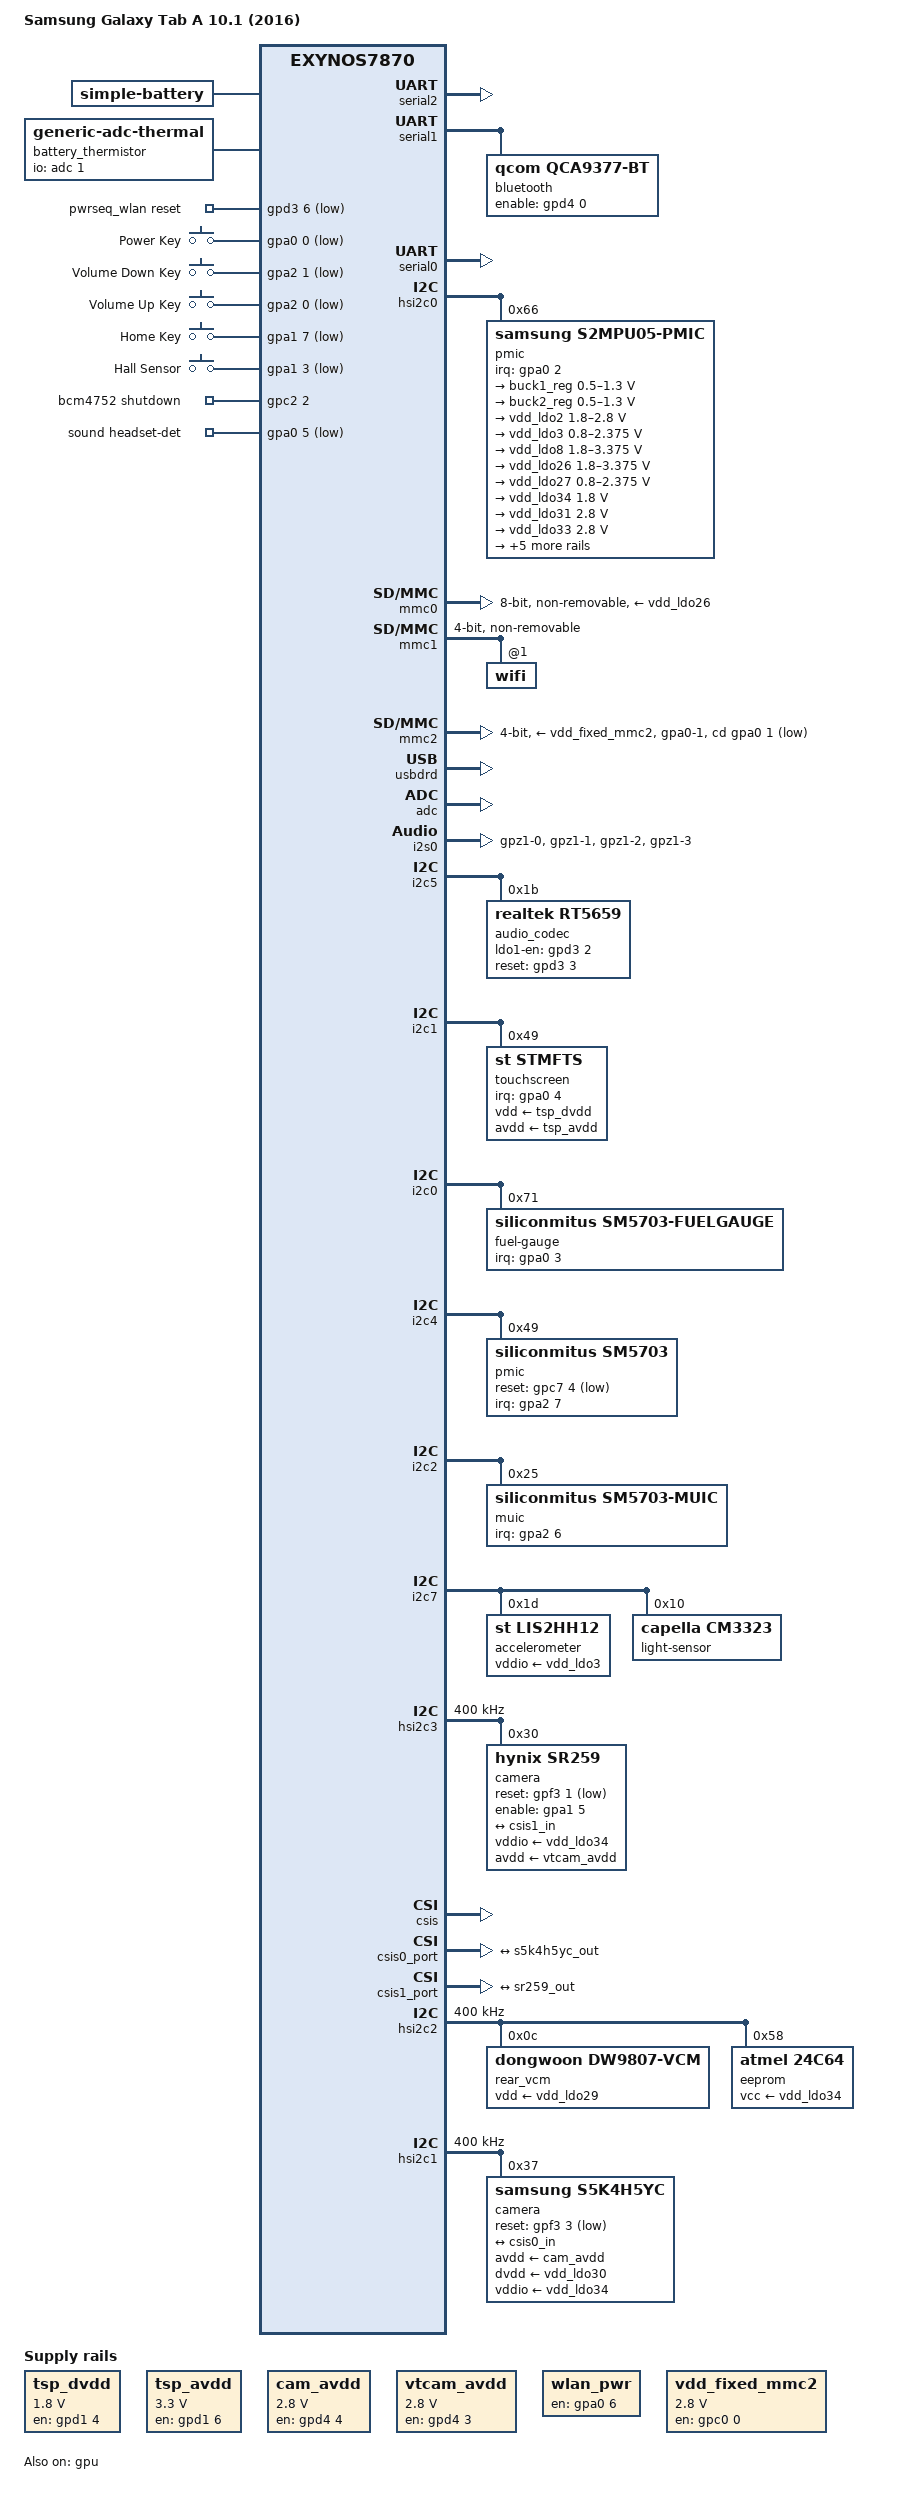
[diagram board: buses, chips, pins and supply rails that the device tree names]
// SPDX-License-Identifier: GPL-2.0
/*
 * Samsung Galaxy Tab A 10.1 (2016) - SM-T580 - codename "gtaxlwifi"
 * SoC: Exynos 7870 (Joshua)
 *
 * Wi-Fi only 10.1" tablet with 2 GiB of RAM in two banks, eMMC, microSD,
 * QCA9377 Wi-Fi (SDIO) and Bluetooth (UART), BCM4752 GPS, S2MPU05 PMIC,
 * SM5703 charger, fuel gauge and MUIC, STMicro FTS touchscreen, keys and
 * Hall sensor, Mali-T830 GPU, LIS2HH12 accelerometer, CM3323 light sensor,
 * front (SR259) and rear (S5K4H5YC) cameras, and audio through the
 * s1402x mixer and a Realtek RT5659 codec (playback and internal mic).
 *
 * This file describes the display as the framebuffer left on by S-BOOT;
 * exynos7870-gtaxlwifi-decon.dts includes it and replaces that with the
 * DECON, DSI and the HX8279D panel with backlight.
 *
 * Based on arch/arm64/boot/dts/exynos/exynos7870-j6lte.dts
 * (Kaustabh Chakraborty)
 *
 * Copyright (C) 2026 The LineageOS Project
 */

/dts-v1/;
#include "exynos7870.dtsi"
#include <dt-bindings/gpio/gpio.h>
#include <dt-bindings/input/input.h>
#include <dt-bindings/leds/common.h>
#include <dt-bindings/interrupt-controller/irq.h>

/ {
	model = "Samsung Galaxy Tab A 10.1 (2016)";
	compatible = "samsung,gtaxlwifi", "samsung,exynos7870";
	chassis-type = "tablet";

	/*
	 * Non-standard properties read by dtbhtoolExynos, which turns them
	 * into the DTBH header codes the stock bootloader matches on
	 * (0x50a6 / 0x217584da). The chip and hw_rev ones are in
	 * exynos7870.dtsi.
	 */
	model_info-platform = "android";
	model_info-subtype = "samsung";

	aliases {
		mmc0 = &mmc0;
		mmc1 = &mmc1;
		mmc2 = &mmc2;
		serial0 = &serial0;
		serial1 = &serial1;
		serial2 = &serial2;
	};

	chosen {
		#address-cells = <2>;
		#size-cells = <1>;
		ranges;

		/* ttySAC2 is the debug UART on the whole 7870 family. */
		stdout-path = &serial2;

		/*
		 * Framebuffer left active by S-BOOT (s3cfb.bootloaderfb on the
		 * stock cmdline, bootloader_fb in the vendor DTS). The panel is
		 * a landscape one mounted rotated by 90 degrees, so the scanout
		 * is portrait; rotate the console with fbcon=rotate:1.
		 */
		framebuffer0: framebuffer@67000000 {
			compatible = "simple-framebuffer";
			reg = <0x0 0x67000000 (1200 * 1920 * 4)>;
			width = <1200>;
			height = <1920>;
			stride = <(1200 * 4)>;
			format = "a8r8g8b8";
		};
	};

	/*
	 * Two banks, as in the vendor DTS. The 28 MiB between them
	 * (0x7e400000-0x80000000) belong to the secure world: mapping them
	 * causes an external abort, so the banks must not be merged.
	 */
	memory@40000000 {
		device_type = "memory";
		reg = <0x0 0x40000000 0x3e400000>;
	};

	memory@80000000 {
		device_type = "memory";
		reg = <0x0 0x80000000 0x40000000>;
	};

	/*
	 * Cell ratings and charging parameters from the vendor battery
	 * DTS. The minimum voltage is the vendor cut-off threshold.
	 */
	battery: battery {
		compatible = "simple-battery";
		device-chemistry = "lithium-ion";
		charge-full-design-microamp-hours = <7300000>;
		voltage-max-design-microvolt = <4350000>;
		voltage-min-design-microvolt = <3400000>;

		/*
		 * Float voltage for a new cell: the vendor kernel lowers it
		 * with the cycle count, which is not tracked here.
		 */
		constant-charge-voltage-max-microvolt = <4300000>;
		constant-charge-current-max-microamp = <2400000>;
		charge-term-current-microamp = <375000>;

		/*
		 * Outside this range the charger stops charging and resumes
		 * 5 degrees inside it. Nothing in the charger watches the
		 * cell: its thermal regulation is for the die.
		 */
		operating-range-celsius = <0 50>;
	};

	/*
	 * Battery thermistor, on SoC ADC channel 1. The fuel gauge only
	 * reports the temperature of its own die.
	 *
	 * Table from the vendor battery DTS, converted to millidegrees and
	 * reversed: thermal-generic-adc wants the ADC values in descending
	 * order.
	 */
	battery_thermistor: thermal-sensor {
		compatible = "generic-adc-thermal";
		#thermal-sensor-cells = <0>;

		io-channels = <&adc 1>;
		io-channel-names = "sensor-channel";

		temperature-lookup-table =
			<(-20000) 3551>,
			<(-15000) 3431>,
			<(-10000) 3284>,
			<(-5000) 3141>,
			<0 2964>,
			<5000 2782>,
			<10000 2586>,
			<15000 2392>,
			<20000 2196>,
			<25000 2002>,
			<30000 1816>,
			<35000 1648>,
			<40000 1476>,
			<45000 1310>,
			<50000 1177>,
			<55000 1043>,
			<60000 940>,
			<65000 838>,
			<70000 746>,
			<75000 676>,
			<80000 581>,
			<85000 500>,
			<90000 430>;
	};

	thermal-zones {
		battery-thermal {
			polling-delay = <10000>;
			polling-delay-passive = <5000>;
			thermal-sensors = <&battery_thermistor>;

			/*
			 * No cooling devices: the passive trips only make the
			 * thermal core send a netlink event on every crossing,
			 * at the thresholds the Android thermal HAL uses for
			 * this zone. There is no critical trip, so that a bad
			 * reading cannot shut the device down; the charger
			 * stops charging by itself.
			 */
			trips {
				trip-light {
					temperature = <40000>;
					hysteresis = <2000>;
					type = "passive";
				};
				trip-moderate {
					temperature = <42000>;
					hysteresis = <2000>;
					type = "passive";
				};
				trip-severe {
					temperature = <45000>;
					hysteresis = <2000>;
					type = "passive";
				};
				trip-critical {
					temperature = <48000>;
					hysteresis = <2000>;
					type = "passive";
				};
				trip-emergency {
					temperature = <52000>;
					hysteresis = <2000>;
					type = "passive";
				};
				trip-shutdown {
					temperature = <60000>;
					hysteresis = <2000>;
					type = "passive";
				};
			};
		};
	};

	/*
	 * The vendor ION heaps are not replicated: they are reusable CMA
	 * pools, and the MFC and camera drivers allocate through their
	 * SysMMUs instead.
	 */
	reserved-memory {
		#address-cells = <2>;
		#size-cells = <1>;
		ranges;

		/* Still scanned out by the DECON: keep the kernel off it. */
		fb_mem: framebuffer@67000000 {
			reg = <0x0 0x67000000 (1200 * 1920 * 4)>;	/* 0x8CA000 */
			no-map;
		};

		/*
		 * Carveouts from the stock cmdline: unused here, but S-BOOT
		 * and the secure world write into them.
		 */
		ess_mem: debug-snapshot@46000000 {
			reg = <0x0 0x46000000 0x1000000>;
			no-map;
		};

		sec_log_mem: sec-log@47000000 {
			reg = <0x0 0x47000000 0x100000>;
			no-map;
		};

		tima_mem: tima-log@52a00000 {
			reg = <0x0 0x52a00000 0x200000>;
			no-map;
		};

		/*
		 * Panic log, kept across a warm reset. Placed in bank 1 away
		 * from the carveouts, the framebuffer and the S-BOOT initrd
		 * area (0x42000000).
		 */
		ramoops@56000000 {
			compatible = "ramoops";
			reg = <0x0 0x56000000 0x100000>;
			console-size = <0x40000>;
			record-size = <0x40000>;
			ftrace-size = <0x0>;
			pmsg-size = <0x40000>;
		};

		/*
		 * ECT (Exynos Character Table): the DVFS tables the bootloader
		 * leaves in RAM. Nothing reads it at run time (the OPP tables
		 * below were taken from it), but it belongs to S-BOOT and the
		 * secure world. no-map keeps it out of the linear map, so that
		 * a parser can memremap() it later without a second, cacheable
		 * alias.
		 */
		ect_mem: ect@90000000 {
			reg = <0x0 0x90000000 0x14000>;
			no-map;
		};
	};

	/*
	 * Touchscreen supplies: external rails switched by GPIOs, not by the
	 * PMIC.
	 */
	tsp_dvdd: regulator-tsp-dvdd {
		compatible = "regulator-fixed";
		regulator-name = "tsp_dvdd";
		regulator-min-microvolt = <1800000>;
		regulator-max-microvolt = <1800000>;
		gpio = <&gpd1 4 GPIO_ACTIVE_HIGH>;
		enable-active-high;
	};

	tsp_avdd: regulator-tsp-avdd {
		compatible = "regulator-fixed";
		regulator-name = "tsp_avdd";
		regulator-min-microvolt = <3300000>;
		regulator-max-microvolt = <3300000>;
		gpio = <&gpd1 6 GPIO_ACTIVE_HIGH>;
		enable-active-high;
	};

	/*
	 * Camera 2.8 V analog rails: external LDOs enabled by gpd4-4 (rear)
	 * and gpd4-3 (front).
	 */
	cam_avdd: regulator-cam-avdd {
		compatible = "regulator-fixed";
		regulator-name = "VDD_CAM_A2P8";
		regulator-min-microvolt = <2800000>;
		regulator-max-microvolt = <2800000>;
		gpio = <&gpd4 4 GPIO_ACTIVE_HIGH>;
		enable-active-high;
	};

	vtcam_avdd: regulator-vtcam-avdd {
		compatible = "regulator-fixed";
		regulator-name = "VDD_VTCAM_A2P8";
		regulator-min-microvolt = <2800000>;
		regulator-max-microvolt = <2800000>;
		gpio = <&gpd4 3 GPIO_ACTIVE_HIGH>;
		enable-active-high;
	};

	/*
	 * QCA9377 Wi-Fi on SDIO (mmc1). WLAN_EN is driven as an active-low
	 * reset by mmc-pwrseq-simple; the delays are those of the vendor
	 * cnss_sdio driver.
	 *
	 * The supply is an external DC-DC with a fixed output and no declared
	 * voltage. It cannot be the vmmc-supply, because the MMC core derives
	 * the OCR mask from the regulator voltages, so it is kept always on.
	 *
	 * WLAN_HOST_WAKE (gpa2-2) is not used: ath10k relies on the in-band
	 * SDIO interrupt.
	 */
	wlan_pwr: regulator-wlan {
		compatible = "regulator-fixed";
		regulator-name = "cnss_dcdc_en";
		gpio = <&gpa0 6 GPIO_ACTIVE_HIGH>;
		enable-active-high;
		startup-delay-us = <4000>;
		regulator-boot-on;
		regulator-always-on;
	};

	pwrseq_wlan: pwrseq-wlan {
		compatible = "mmc-pwrseq-simple";
		reset-gpios = <&gpd3 6 GPIO_ACTIVE_LOW>;	/* WLAN_EN */
		post-power-on-delay-ms = <10>;
	};

	/*
	 * microSD slot supply: external 2.8 V regulator enabled by gpc0-0.
	 *
	 * No pinctrl on purpose: according to the vendor kernel the
	 * configuration registers of gpc0-0 and gpc0-2 are swapped, so a
	 * pinctrl group on gpc0-0 would configure gpc0-2. The data path is
	 * not swapped, and gpiolib drives the right pin.
	 */
	vdd_fixed_mmc2: regulator-fixed-mmc2 {
		compatible = "regulator-fixed";
		regulator-name = "vdd_fixed_mmc2";
		regulator-min-microvolt = <2800000>;
		regulator-max-microvolt = <2800000>;
		gpio = <&gpc0 0 GPIO_ACTIVE_HIGH>;
		enable-active-high;
	};

	gpio-keys {
		compatible = "gpio-keys";
		label = "GPIO Keys";

		pinctrl-names = "default";
		pinctrl-0 = <&key_power &key_voldown &key_volup &key_home &hall_cover>;

		key-power {
			label = "Power Key";
			gpios = <&gpa0 0 GPIO_ACTIVE_LOW>;
			linux,code = <KEY_POWER>;		/* 116 */
			wakeup-source;
		};

		key-voldown {
			label = "Volume Down Key";
			gpios = <&gpa2 1 GPIO_ACTIVE_LOW>;
			linux,code = <KEY_VOLUMEDOWN>;		/* 114 */
		};

		key-volup {
			label = "Volume Up Key";
			gpios = <&gpa2 0 GPIO_ACTIVE_LOW>;
			linux,code = <KEY_VOLUMEUP>;		/* 115 */
		};

		key-home {
			label = "Home Key";
			gpios = <&gpa1 7 GPIO_ACTIVE_LOW>;
			linux,code = <KEY_HOMEPAGE>;		/* 172 */
			wakeup-source;
		};

		/*
		 * Magnetic cover: SW_LID reads 1 while the magnet is near.
		 * Opening the cover wakes the tablet.
		 */
		hall-cover {
			label = "Hall Sensor";
			gpios = <&gpa1 3 GPIO_ACTIVE_LOW>;
			linux,input-type = <EV_SW>;
			linux,code = <SW_LID>;			/* 0 */
			wakeup-source;
		};
	};
};

&oscclk {
	clock-frequency = <26000000>;
};

/* Debug UART, 115200 8N1 through the 619 kOhm jig. */
&serial2 {
	status = "okay";
};

/*
 * Bluetooth half of the QCA9377 (H4 with IBS). It shares only the
 * supply, wlan_pwr, with the Wi-Fi.
 *
 * The vendor kernel numbers the UARTs differently: its serial_0
 * (UART_BTWIFIFM) is serial1 here, its serial_1 (UART_SENSOR) is
 * serial0.
 *
 * BT_WAKE and BT_HOST_WAKE are not used: on QCA_ROME, IBS is in-band.
 * There is no sleep clock to declare: the 32 kHz clock does not come
 * from the AP.
 *
 * max-speed must let the ~33 KB rampatch download fit within
 * HCI_CMD_TIMEOUT (2 s), which starts when a command is queued: that
 * takes 2.9 s at 115200 and 0.36 s at 921600.
 */
&serial1 {
	status = "okay";

	bluetooth {
		compatible = "qcom,qca9377-bt";
		enable-gpios = <&gpd4 0 GPIO_ACTIVE_HIGH>;	/* BT_EN */
		max-speed = <921600>;
	};
};

/*
 * Broadcom BCM4752 GPS on serial0. The chip does not speak NMEA: the
 * proprietary gpsd drives the UART as a plain tty (ttySAC0) and powers
 * the chip by writing "1"/"0" to a file, which is what an rfkill state
 * accepts.
 */
&serial0 {
	status = "okay";
};

/ {
	gps {
		compatible = "rfkill-gpio";
		label = "bcm4752";
		radio-type = "gps";
		shutdown-gpios = <&gpc2 2 GPIO_ACTIVE_HIGH>;	/* GPS_EN */
		default-blocked;
	};
};

/*
 * Mali-T830. OPPs: the steps the vendor enables (ECT domain
 * "dvfs_g3d"), at the ASV table 5 group 5 voltages fused in the unit
 * they were read from, plus the 20 mV margin of the vendor Mali driver,
 * rounded to the 6.25 mV PMIC step.
 */
&gpu {
	status = "okay";

	mali-supply = <&buck2_reg>;
	operating-points-v2 = <&gpu_opp_table>;

	gpu_opp_table: opp-table {
		compatible = "operating-points-v2";

		opp-343000000 {
			opp-hz = /bits/ 64 <343000000>;
			opp-microvolt = <625000>;
		};

		opp-450000000 {
			opp-hz = /bits/ 64 <450000000>;
			opp-microvolt = <662500>;
		};

		opp-545000000 {
			opp-hz = /bits/ 64 <545000000>;
			opp-microvolt = <706250>;
		};

		opp-676000000 {
			opp-hz = /bits/ 64 <676000000>;
			opp-microvolt = <768750>;
		};

		opp-728000000 {
			opp-hz = /bits/ 64 <728000000>;
			opp-microvolt = <787500>;
		};

		opp-845000000 {
			opp-hz = /bits/ 64 <845000000>;
			opp-microvolt = <862500>;
		};

		opp-1001000000 {
			opp-hz = /bits/ 64 <1001000000>;
			opp-microvolt = <956250>;
		};
	};
};

/*
 * CPU OPPs: the ECT levels (dvfs_cpucl0/1) that have a valid voltage in
 * ASV table 5. The frequencies are the exact ECT ones: they must match
 * the PLL rate table and the clk-cpu configurations, or the transition
 * is rejected.
 *
 * Voltages: ASV table 5, group 5, plus 25 mV, which covers the
 * COLD_VOLT_OFFSET the vendor kernel applies at low temperature and
 * which is not implemented here. opp-suspend is the vendor boot and
 * resume level.
 *
 * Both clusters share BUCK1: the wide maximum in opp-microvolt lets the
 * regulator core keep the rail at the highest request.
 */
/ {
	cpucl0_opp_table: opp-table-cpucl0 {
		compatible = "operating-points-v2";
		opp-shared;

		opp-1586000000 {
			opp-hz = /bits/ 64 <1586000000>;
			opp-microvolt = <1068750 1068750 1300000>;
			clock-latency-ns = <140000>;
		};

		opp-1482000000 {
			opp-hz = /bits/ 64 <1482000000>;
			opp-microvolt = <1018750 1018750 1300000>;
			clock-latency-ns = <140000>;
		};

		opp-1352000000 {
			opp-hz = /bits/ 64 <1352000000>;
			opp-microvolt = <968750 968750 1300000>;
			clock-latency-ns = <140000>;
		};

		opp-1248000000 {
			opp-hz = /bits/ 64 <1248000000>;
			opp-microvolt = <925000 925000 1300000>;
			clock-latency-ns = <140000>;
		};

		opp-1144000000 {
			opp-hz = /bits/ 64 <1144000000>;
			opp-microvolt = <881250 881250 1300000>;
			clock-latency-ns = <140000>;
		};

		opp-1014000000 {
			opp-hz = /bits/ 64 <1014000000>;
			opp-microvolt = <831250 831250 1300000>;
			clock-latency-ns = <140000>;
		};

		opp-902200000 {
			opp-hz = /bits/ 64 <902200000>;
			opp-microvolt = <787500 787500 1300000>;
			clock-latency-ns = <140000>;
			opp-suspend;
		};

		opp-838500000 {
			opp-hz = /bits/ 64 <838500000>;
			opp-microvolt = <762500 762500 1300000>;
			clock-latency-ns = <140000>;
		};

		opp-756600000 {
			opp-hz = /bits/ 64 <756600000>;
			opp-microvolt = <743750 743750 1300000>;
			clock-latency-ns = <140000>;
		};

		opp-676000000 {
			opp-hz = /bits/ 64 <676000000>;
			opp-microvolt = <718750 718750 1300000>;
			clock-latency-ns = <140000>;
		};

		opp-546000000 {
			opp-hz = /bits/ 64 <546000000>;
			opp-microvolt = <675000 675000 1300000>;
			clock-latency-ns = <140000>;
		};

		opp-448500000 {
			opp-hz = /bits/ 64 <448500000>;
			opp-microvolt = <650000 650000 1300000>;
			clock-latency-ns = <140000>;
		};

		opp-342875000 {
			opp-hz = /bits/ 64 <342875000>;
			opp-microvolt = <625000 625000 1300000>;
			clock-latency-ns = <140000>;
		};
	};

	cpucl1_opp_table: opp-table-cpucl1 {
		compatible = "operating-points-v2";
		opp-shared;

		opp-1586000000 {
			opp-hz = /bits/ 64 <1586000000>;
			opp-microvolt = <1068750 1068750 1300000>;
			clock-latency-ns = <140000>;
		};

		opp-1482000000 {
			opp-hz = /bits/ 64 <1482000000>;
			opp-microvolt = <1018750 1018750 1300000>;
			clock-latency-ns = <140000>;
		};

		opp-1352000000 {
			opp-hz = /bits/ 64 <1352000000>;
			opp-microvolt = <968750 968750 1300000>;
			clock-latency-ns = <140000>;
		};

		opp-1248000000 {
			opp-hz = /bits/ 64 <1248000000>;
			opp-microvolt = <925000 925000 1300000>;
			clock-latency-ns = <140000>;
		};

		opp-1144000000 {
			opp-hz = /bits/ 64 <1144000000>;
			opp-microvolt = <881250 881250 1300000>;
			clock-latency-ns = <140000>;
		};

		opp-1014000000 {
			opp-hz = /bits/ 64 <1014000000>;
			opp-microvolt = <831250 831250 1300000>;
			clock-latency-ns = <140000>;
		};

		opp-902200000 {
			opp-hz = /bits/ 64 <902200000>;
			opp-microvolt = <787500 787500 1300000>;
			clock-latency-ns = <140000>;
			opp-suspend;
		};

		opp-838500000 {
			opp-hz = /bits/ 64 <838500000>;
			opp-microvolt = <762500 762500 1300000>;
			clock-latency-ns = <140000>;
		};

		opp-756600000 {
			opp-hz = /bits/ 64 <756600000>;
			opp-microvolt = <743750 743750 1300000>;
			clock-latency-ns = <140000>;
		};

		opp-676000000 {
			opp-hz = /bits/ 64 <676000000>;
			opp-microvolt = <718750 718750 1300000>;
			clock-latency-ns = <140000>;
		};

		opp-546000000 {
			opp-hz = /bits/ 64 <546000000>;
			opp-microvolt = <675000 675000 1300000>;
			clock-latency-ns = <140000>;
		};

		opp-448500000 {
			opp-hz = /bits/ 64 <448500000>;
			opp-microvolt = <650000 650000 1300000>;
			clock-latency-ns = <140000>;
		};

		opp-342875000 {
			opp-hz = /bits/ 64 <342875000>;
			opp-microvolt = <625000 625000 1300000>;
			clock-latency-ns = <140000>;
		};
	};
};

&cpu0 {
	cpu-supply = <&buck1_reg>;
	operating-points-v2 = <&cpucl0_opp_table>;
};

&cpu1 {
	cpu-supply = <&buck1_reg>;
	operating-points-v2 = <&cpucl0_opp_table>;
};

&cpu2 {
	cpu-supply = <&buck1_reg>;
	operating-points-v2 = <&cpucl0_opp_table>;
};

&cpu3 {
	cpu-supply = <&buck1_reg>;
	operating-points-v2 = <&cpucl0_opp_table>;
};

&cpu4 {
	cpu-supply = <&buck1_reg>;
	operating-points-v2 = <&cpucl1_opp_table>;
};

&cpu5 {
	cpu-supply = <&buck1_reg>;
	operating-points-v2 = <&cpucl1_opp_table>;
};

&cpu6 {
	cpu-supply = <&buck1_reg>;
	operating-points-v2 = <&cpucl1_opp_table>;
};

&cpu7 {
	cpu-supply = <&buck1_reg>;
	operating-points-v2 = <&cpucl1_opp_table>;
};

/*
 * S2MPU05 PMIC. Only the regulators with a consumer here are declared;
 * the other bucks stay as the bootloader set them.
 */
&hsi2c0 {
	#address-cells = <1>;
	#size-cells = <0>;
	status = "okay";

	pmic@66 {
		compatible = "samsung,s2mpu05-pmic";
		reg = <0x66>;
		interrupt-parent = <&gpa0>;
		interrupts = <2 IRQ_TYPE_LEVEL_LOW>;

		pinctrl-names = "default";
		pinctrl-0 = <&pmic_irq>;

		regulators {
			/*
			 * BUCK1 (VDD_CPU) supplies both clusters; the regulator
			 * core aggregates their requests through the OPP
			 * voltage ranges.
			 */
			buck1_reg: buck1 {
				regulator-name = "vdd_cpu";
				regulator-min-microvolt = <500000>;
				regulator-max-microvolt = <1300000>;
				regulator-ramp-delay = <12000>;
				regulator-boot-on;
				regulator-always-on;
			};

			/*
			 * BUCK2 (G3D) is declared for GPU DVFS: without
			 * constraints, voltage changes are rejected. Range and
			 * ramp from the vendor kernel; always on, as there,
			 * because it supplies a SoC power domain.
			 */
			buck2_reg: buck2 {
				regulator-name = "vdd_g3d";
				regulator-min-microvolt = <500000>;
				regulator-max-microvolt = <1300000>;
				regulator-ramp-delay = <12000>;
				regulator-boot-on;
				regulator-always-on;
			};

			/*
			 * microSD vqmmc: the 1.8-2.8 V range is needed for UHS
			 * signalling.
			 */
			vdd_ldo2: ldo2 {
				regulator-name = "vqmmc";
				regulator-min-microvolt = <1800000>;
				regulator-max-microvolt = <2800000>;
				regulator-ramp-delay = <12000>;
			};

			/*
			 * LIS2HH12 accelerometer I/O rail, as in the vendor
			 * kernel. The chip VDD is not described there either:
			 * it is already on at boot.
			 */
			vdd_ldo3: ldo3 {
				regulator-name = "vdd_ldo3";
				regulator-min-microvolt = <800000>;
				regulator-max-microvolt = <2375000>;
				regulator-ramp-delay = <12000>;
				regulator-boot-on;
				regulator-always-on;
			};

			/* USB DRD PHY 3.3 V supply (vdd33). */
			vdd_ldo8: ldo8 {
				regulator-name = "vdd_ldo8";
				regulator-min-microvolt = <1800000>;
				regulator-max-microvolt = <3375000>;
				regulator-ramp-delay = <12000>;
			};

			/* eMMC vmmc */
			vdd_ldo26: ldo26 {
				regulator-name = "vemmc";
				regulator-min-microvolt = <1800000>;
				regulator-max-microvolt = <3375000>;
				regulator-ramp-delay = <12000>;
				regulator-boot-on;
			};

			/* eMMC vqmmc */
			vdd_ldo27: ldo27 {
				regulator-name = "vqemmc";
				regulator-min-microvolt = <800000>;
				regulator-max-microvolt = <2375000>;
				regulator-ramp-delay = <12000>;
				regulator-boot-on;
			};

			/*
			 * 1.8 V I/O of both cameras, switched by the sensor
			 * drivers.
			 */
			vdd_ldo34: ldo34 {
				regulator-name = "VDDIO_1.8V_CAM";
				regulator-min-microvolt = <1800000>;
				regulator-max-microvolt = <1800000>;
			};

			/*
			 * BCM4752 GPS supply. No driver requests it, and S-BOOT
			 * leaves it off: always on, as in the vendor kernel.
			 */
			vdd_ldo31: ldo31 {
				regulator-name = "vdd_ldo31";
				regulator-min-microvolt = <2800000>;
				regulator-max-microvolt = <2800000>;
				regulator-boot-on;
				regulator-always-on;
			};

			/*
			 * CM3323 light sensor supply. The vendor driver kept it
			 * on through a private property; the mainline driver
			 * does not request it at all.
			 */
			vdd_ldo33: ldo33 {
				regulator-name = "vdd_ldo33";
				regulator-min-microvolt = <2800000>;
				regulator-max-microvolt = <2800000>;
				regulator-boot-on;
				regulator-always-on;
			};

			/*
			 * Panel supply. With simple-framebuffer nothing
			 * requests it, so it is always on; the -decon variant
			 * hands it to the panel driver.
			 */
			vdd_ldo35: ldo35 {
				regulator-name = "LCD_1P8";
				regulator-min-microvolt = <1800000>;
				regulator-max-microvolt = <1800000>;
				regulator-boot-on;
				regulator-always-on;
			};

			/*
			 * RT5659 codec supplies (LDO25 at 1.8 V, LDO32 at
			 * 3.3 V), as mapped by the vendor sound DTS. Always on:
			 * the mainline rt5659 driver does not request supplies,
			 * and its power-on sequence (ldo1-en and reset GPIOs on
			 * the codec node) needs both rails up.
			 */
			vdd_ldo25: ldo25 {
				regulator-name = "VDD_CODEC_1P8";
				regulator-min-microvolt = <1800000>;
				regulator-max-microvolt = <1800000>;
				regulator-boot-on;
				regulator-always-on;
			};

			vdd_ldo32: ldo32 {
				regulator-name = "VDD_CODEC_3P3";
				regulator-min-microvolt = <3300000>;
				regulator-max-microvolt = <3300000>;
				regulator-boot-on;
				regulator-always-on;
			};

			/*
			 * Rear camera autofocus motor (DW9807), switched by its
			 * driver.
			 */
			vdd_ldo29: ldo29 {
				regulator-name = "VDD_CAM_AF_2P8";
				regulator-min-microvolt = <2800000>;
				regulator-max-microvolt = <2800000>;
			};

			/*
			 * 1.2 V core of the rear sensor, switched by the sensor
			 * driver. S-BOOT leaves it on at 1.8 V.
			 */
			vdd_ldo30: ldo30 {
				regulator-name = "VDD_CAM_CORE_1P2";
				regulator-min-microvolt = <1200000>;
				regulator-max-microvolt = <1200000>;
			};
		};
	};
};

&mmc0 {
	pinctrl-names = "default";
	pinctrl-0 = <&sd0_clk &sd0_cmd &sd0_rdqs &sd0_bus1 &sd0_bus4 &sd0_bus8>;

	vmmc-supply = <&vdd_ldo26>;
	vqmmc-supply = <&vdd_ldo27>;

	bus-width = <8>;
	fifo-depth = <64>;

	/*
	 * cap-mmc-highspeed is needed to leave the 25 MHz legacy mode; DDR52
	 * also relies on the driver caps of controller 0, which the mmc0 alias
	 * selects. HS200 runs the card at 199.875 MHz (CIU at bus_pll / 2,
	 * ciu-div 3); the sample phase comes from tuning.
	 */
	cap-mmc-highspeed;
	mmc-hs200-1_8v;

	/*
	 * HS400 with the vendor kernel's values. The vendor ddr200-timing
	 * <1 0 4 0> (ciu-div, fine drive, drive, sample) becomes <0 4> here,
	 * with the fixed HS400 divider. The read strobe delay (RD_DQS_DELAY of
	 * HS400_DLINE_CTRL) and the write CRC status timer are the vendor
	 * DDR200 values. The vendor kernel also used Enhanced Strobe, which
	 * dw_mmc lacks: this is plain HS400, entered after HS200 tuning.
	 */
	mmc-hs400-1_8v;
	samsung,dw-mshc-hs400-timing = <0 4>;
	samsung,read-strobe-delay = <0x75>;
	samsung,dw-mshc-txdt-crc-timer-fastlimit = <0x34>;
	samsung,dw-mshc-txdt-crc-timer-initval = <0x38>;

	/*
	 * Mainline two-cell <sample drive> timings: the vendor four-cell values
	 * (div, x, drive, sample) are reordered, not copied.
	 */
	samsung,dw-mshc-ciu-div = <3>;
	samsung,dw-mshc-sdr-timing = <0 4>;
	samsung,dw-mshc-ddr-timing = <2 4>;
	non-removable;

	status = "okay";
};

/*
 * QCA9377 Wi-Fi on SDIO. ddr-timing is unused but required by
 * dw_mci_exynos_parse_dt(). The address and size cells are for the wifi@1
 * child.
 */
&mmc1 {
	#address-cells = <1>;
	#size-cells = <0>;

	pinctrl-names = "default";
	pinctrl-0 = <&sd1_clk &sd1_cmd &sd1_bus1 &sd1_bus4>;

	mmc-pwrseq = <&pwrseq_wlan>;

	bus-width = <4>;
	fifo-depth = <64>;
	samsung,dw-mshc-ciu-div = <3>;
	samsung,dw-mshc-sdr-timing = <0 3>;
	samsung,dw-mshc-ddr-timing = <1 2>;
	non-removable;
	cap-sd-highspeed;
	cap-sdio-irq;
	keep-power-in-suspend;
	/*
	 * WoWLAN: in suspend the firmware wakes the host through the SDIO
	 * interrupt. The out-of-band line of the vendor kernel (gpa2-2) is not
	 * driven under ath10k.
	 */
	wakeup-source;

	status = "okay";

	/*
	 * SDIO function 1. The bootloader adds local-mac-address from the EFS.
	 */
	wifi@1 {
		reg = <1>;
	};
};

/*
 * microSD, wired as on the other 7870 boards. The timings are the vendor ones
 * reordered: <3 0 3 0> is <0 3> and <3 0 2 1> is <1 2>. The vendor SDR50 drive
 * strength cannot be expressed, as mainline uses sdr-timing for every SDR mode.
 *
 * Unlike the other 7870 boards, card detect uses the gpa0-1 interrupt rather
 * than broken-cd polling, which also debounces the insertion; the two cannot be
 * combined. cap-sd-highspeed is needed for 50 MHz: the core does not infer it
 * from the UHS flags.
 */
&mmc2 {
	pinctrl-names = "default";
	pinctrl-0 = <&sd2_clk &sd2_cmd &sd2_bus1 &sd2_bus4 &dwmmc2_irq>;

	vmmc-supply = <&vdd_fixed_mmc2>;
	vqmmc-supply = <&vdd_ldo2>;

	bus-width = <4>;
	card-detect-delay = <200>;
	fifo-depth = <64>;
	samsung,dw-mshc-ciu-div = <3>;
	samsung,dw-mshc-sdr-timing = <0 3>;
	samsung,dw-mshc-ddr-timing = <1 2>;
	cap-sd-highspeed;
	sd-uhs-sdr50;
	sd-uhs-sdr104;
	cd-gpios = <&gpa0 1 GPIO_ACTIVE_LOW>;
	disable-wp;

	status = "okay";
};

&usbdrd {
	vdd33-supply = <&vdd_ldo8>;

	status = "okay";

	/*
	 * Nothing reports a role to the dwc3 role switch, and without one the
	 * UDC is not registered: force peripheral mode.
	 */
	usb@0 {
		dr_mode = "peripheral";
	};
};

/*
 * SoC ADC, not described in exynos7870.dtsi; address and interrupt from the
 * vendor kernel. With "samsung,exynos7-adc" every read times out, hence the
 * dedicated compatible.
 *
 * The supply is not known (the vendor DTS does not describe it either); it is
 * on at boot, and the driver falls back to a dummy regulator.
 */
&soc {
	adc: adc@10550000 {
		compatible = "samsung,exynos7870-adc";
		reg = <0x10550000 0x100>;

		interrupts = <GIC_SPI 395 IRQ_TYPE_LEVEL_HIGH>;

		clocks = <&cmu_mif CLK_GOUT_MIF_WRAP_ADC_IF_PCLK_S0>;
		clock-names = "adc";

		#io-channel-cells = <1>;
	};
};

/*
 * Audio: LPASS wrapper and audio DMA, with the I2S and the mixer as children,
 * populated once the wrapper has released their resets. The CMU_DISPAUD clocks
 * and resets are shared with the display.
 *
 * The wrapper maps only the DISPAUD_CFG word: bits 0-3 are the active-high soft
 * resets of MIXER/MI2S/AMP/ADMA. The word at +0xc belongs to syscon_disp.
 *
 * The vendor kernel loads the PL330 microcode into the LPASS SRAM with
 * extensions mainline lacks; here it stays in DRAM, which the DMAC reaches
 * through the same AXI master as the audio buffers. periphid from the vendor
 * kernel.
 */
&soc {
	lpass: audio-subsystem@148f1000 {
		compatible = "samsung,exynos7870-lpass";
		reg = <0x148f1000 0x4>;

		clocks = <&cmu_dispaud CLK_GOUT_DISPAUD_APB_AUD>,
			 <&cmu_dispaud CLK_FOUT_DISPAUD_AUD_PLL>,
			 <&cmu_dispaud CLK_DOUT_DISPAUD_MI2S>;
		clock-names = "apb_aud", "fout_aud_pll", "dout_mi2s";

		#address-cells = <1>;
		#size-cells = <1>;
		ranges;

		adma: dma-controller@14890000 {
			compatible = "arm,pl330", "arm,primecell";
			reg = <0x14890000 0x1000>;
			interrupts = <GIC_SPI 73 IRQ_TYPE_LEVEL_HIGH>;

			clocks = <&cmu_dispaud CLK_GOUT_DISPAUD_BUS>;
			clock-names = "apb_pclk";

			#dma-cells = <1>;
			arm,primecell-periphid = <0x341330>;
		};

		/*
		 * I2S0 has the register layout of the i2sv5_i2s1 variant. Both
		 * opclks point to the same gate, so the RCLKSRC mux does not
		 * matter. DMA channels from the vendor kernel.
		 */
		i2s0: i2s@148a0000 {
			compatible = "samsung,exynos7-i2s1";
			reg = <0x148a0000 0x100>;
			interrupts = <GIC_SPI 69 IRQ_TYPE_LEVEL_HIGH>;

			dmas = <&adma 0>, <&adma 2>;
			dma-names = "tx", "rx";

			clocks = <&cmu_dispaud CLK_GOUT_DISPAUD_APB_AUD>,
				 <&cmu_dispaud CLK_GOUT_DISPAUD_MI2S_AUD_I2SCODCLKI>,
				 <&cmu_dispaud CLK_GOUT_DISPAUD_MI2S_AUD_I2SCODCLKI>;
			clock-names = "iis", "i2s_opclk0", "i2s_opclk1";

			pinctrl-names = "default";
			pinctrl-0 = <&i2s_extcodec_bus>;

			/* MI2S clock at 2048 x 48 kHz */
			assigned-clocks = <&cmu_dispaud CLK_DOUT_DISPAUD_MI2S>;
			assigned-clock-rates = <98304019>;

			#sound-dai-cells = <1>;
		};

		/*
		 * s1402x digital mixer, between I2S0 and the codec, which is
		 * wired to its AMP port.
		 */
		audmixer: audio-mixer@14880000 {
			compatible = "samsung,s1402x";
			reg = <0x14880000 0x200>;

			clocks = <&cmu_dispaud CLK_DOUT_DISPAUD_MIXER>,
				 <&cmu_dispaud CLK_GOUT_DISPAUD_MIXER_AUD_SYSCLK>;
			clock-names = "audmixer_dout", "audmixer_aclk";

			#sound-dai-cells = <1>;
		};
	};
};

/*
 * I2S pins towards the external codec, with the settings of the vendor
 * i2s_pmic_bus_extcodec group.
 */
&pinctrl_dispaud {
	i2s_extcodec_bus: i2s-extcodec-bus-pins {
		samsung,pins = "gpz1-0", "gpz1-1", "gpz1-2", "gpz1-3";
		samsung,pin-function = <2>;
		samsung,pin-pud = <3>;
		samsung,pin-drv = <2>;
	};
};

/*
 * Realtek RT5659 codec. The internal microphone is differential on IN3P/IN3N;
 * the in3/in4-differential properties are read by the driver but not yet listed
 * in the binding schema.
 */
&i2c5 {
	status = "okay";

	/*
	 * Without an SDA delay this controller samples badly and reads return
	 * zero. Values from the vendor kernel.
	 */
	samsung,i2c-sda-delay = <100>;
	samsung,i2c-max-bus-freq = <400000>;

	audio_codec: audio-codec@1b {
		compatible = "realtek,rt5659";
		reg = <0x1b>;

		pinctrl-names = "default";
		pinctrl-0 = <&codec_ctrl>;

		/*
		 * The codec interrupt (gpd3-7) is left out: it only serves the
		 * codec's own jack detection, done through gpa0-5 instead, and
		 * rt5659_irq() can queue jack_detect_work before the component
		 * probe initializes it.
		 */

		realtek,ldo1-en-gpios = <&gpd3 2 GPIO_ACTIVE_HIGH>;
		realtek,reset-gpios = <&gpd3 3 GPIO_ACTIVE_HIGH>;

		realtek,in3-differential;
		realtek,in4-differential;
	};
};

/*
 * Test card for the SoC chain alone (I2S0 to mixer, no codec), an alternative
 * to the sound card below.
 */
/ {
	sound_test: sound-test {
		status = "disabled";
		compatible = "simple-audio-card";
		simple-audio-card,name = "gtaxl-soc-chain-test";
		simple-audio-card,format = "i2s";
		simple-audio-card,bitclock-master = <&cpu_dai_test>;
		simple-audio-card,frame-master = <&cpu_dai_test>;

		cpu_dai_test: simple-audio-card,cpu {
			sound-dai = <&i2s0 0>;
		};

		simple-audio-card,codec {
			sound-dai = <&audmixer 0>;
		};
	};
};

/*
 * Sound card: one dai_link with two codecs, mixer AP0 and RT5659 AIF1. Routing
 * from the vendor sound node.
 */
/ {
	sound {
		status = "okay";
		compatible = "samsung,gtaxl-rt5659";
		model = "gtaxlwifi";

		i2s-controller = <&i2s0>;
		audio-mixer = <&audmixer>;
		audio-codec = <&audio_codec>;

		pinctrl-names = "default";
		pinctrl-0 = <&jack_det>;

		/*
		 * Headphone detection is external to the codec, on gpa0-5: high
		 * at rest, low on insertion. The property name is the con-id
		 * passed by snd_soc_jack_add_gpios(). The polarity is set here
		 * and not in the driver, as setting both would cancel out.
		 */
		headset-det-gpios = <&gpa0 5 GPIO_ACTIVE_LOW>;

		audio-routing =
			"SPK", "SPOL",
			"SPK", "SPOR",
			"HP", "HPOL",
			"HP", "HPOR",
			"RCV", "MONOOUT",
			"IN1P", "Headset Mic",
			"IN3P", "MICBIAS2",
			"IN3P", "Main Mic",
			"IN3N", "Main Mic";
	};
};

&pinctrl_alive {
	key_power: key-power-pins {
		samsung,pins = "gpa0-0";
		samsung,pin-function = <EXYNOS_PIN_FUNC_EINT>;
		samsung,pin-pud = <EXYNOS_PIN_PULL_NONE>;
		samsung,pin-drv = <EXYNOS5433_PIN_DRV_FAST_SR1>;
	};

	key_voldown: key-voldown-pins {
		samsung,pins = "gpa2-1";
		samsung,pin-function = <EXYNOS_PIN_FUNC_EINT>;
		samsung,pin-pud = <EXYNOS_PIN_PULL_NONE>;
		samsung,pin-drv = <EXYNOS5433_PIN_DRV_FAST_SR1>;
	};

	key_volup: key-volup-pins {
		samsung,pins = "gpa2-0";
		samsung,pin-function = <EXYNOS_PIN_FUNC_EINT>;
		samsung,pin-pud = <EXYNOS_PIN_PULL_NONE>;
		samsung,pin-drv = <EXYNOS5433_PIN_DRV_FAST_SR1>;
	};

	/* Headphone jack detect: EINT and no pull, as in the vendor kernel. */
	jack_det: jack-det-pins {
		samsung,pins = "gpa0-5";
		samsung,pin-function = <EXYNOS_PIN_FUNC_EINT>;
		samsung,pin-pud = <EXYNOS_PIN_PULL_NONE>;
		samsung,pin-drv = <EXYNOS5433_PIN_DRV_FAST_SR1>;
	};

	key_home: key-home-pins {
		samsung,pins = "gpa1-7";
		samsung,pin-function = <EXYNOS_PIN_FUNC_EINT>;
		samsung,pin-pud = <EXYNOS_PIN_PULL_NONE>;
		samsung,pin-drv = <EXYNOS5433_PIN_DRV_FAST_SR1>;
	};

	/*
	 * Hall sensor of the magnetic cover, low while the magnet is near. The
	 * pin is not documented in the vendor sources; it was identified on the
	 * hardware.
	 */
	hall_cover: hall-cover-pins {
		samsung,pins = "gpa1-3";
		samsung,pin-function = <EXYNOS_PIN_FUNC_EINT>;
		samsung,pin-pud = <EXYNOS_PIN_PULL_NONE>;
		samsung,pin-drv = <EXYNOS5433_PIN_DRV_FAST_SR1>;
	};

	/* S2MPU05 PMIC IRQ, as on the J6 */
	pmic_irq: pmic-irq-pins {
		samsung,pins = "gpa0-2";
		samsung,pin-pud = <EXYNOS_PIN_PULL_UP>;
		samsung,pin-drv = <EXYNOS5433_PIN_DRV_FAST_SR4>;
	};

	touch_irq: touch-irq-pins {
		samsung,pins = "gpa0-4";
		samsung,pin-function = <EXYNOS_PIN_FUNC_EINT>;
		samsung,pin-pud = <EXYNOS_PIN_PULL_NONE>;
		samsung,pin-drv = <EXYNOS5433_PIN_DRV_FAST_SR1>;
	};

	/* SM5703 MFD IRQ; the MUIC has its own line, below. */
	if_pmic_irq: if-pmic-irq-pins {
		samsung,pins = "gpa2-7";
		samsung,pin-function = <EXYNOS_PIN_FUNC_INPUT>;
		samsung,pin-pud = <EXYNOS_PIN_PULL_NONE>;
		samsung,pin-drv = <EXYNOS5433_PIN_DRV_FAST_SR1>;
	};

	/* MUIC IRQ: active low, and nothing else holds it high at rest. */
	muic_irq: muic-irq-pins {
		samsung,pins = "gpa2-6";
		samsung,pin-function = <EXYNOS_PIN_FUNC_INPUT>;
		samsung,pin-pud = <EXYNOS_PIN_PULL_UP>;
		samsung,pin-drv = <EXYNOS5433_PIN_DRV_FAST_SR1>;
	};

	fuel_irq: fuel-irq-pins {
		samsung,pins = "gpa0-3";
		samsung,pin-function = <EXYNOS_PIN_FUNC_INPUT>;
		samsung,pin-pud = <EXYNOS_PIN_PULL_NONE>;
		samsung,pin-drv = <EXYNOS5433_PIN_DRV_FAST_SR1>;
	};

	/*
	 * microSD card detect: the pull-up is on the slot, and the line goes
	 * low with a card inserted.
	 */
	dwmmc2_irq: dwmmc2-irq-pins {
		samsung,pins = "gpa0-1";
		samsung,pin-function = <EXYNOS_PIN_FUNC_EINT>;
		samsung,pin-pud = <EXYNOS_PIN_PULL_NONE>;
		samsung,pin-drv = <EXYNOS5433_PIN_DRV_FAST_SR1>;
	};
};

/*
 * nCHGEN of the SM5703: a high level turns the input stage off, whatever the
 * registers say.
 */
&pinctrl_top {
	chg_en: chg-en-pins {
		samsung,pins = "gpd1-3";
		samsung,pin-function = <EXYNOS_PIN_FUNC_OUTPUT>;
		samsung,pin-pud = <EXYNOS_PIN_PULL_NONE>;
		samsung,pin-drv = <EXYNOS5433_PIN_DRV_FAST_SR1>;
	};

	/*
	 * Codec LDO_EN and RESET, driven high at boot as in the vendor kernel:
	 * S-BOOT leaves both pins as inputs.
	 */
	codec_ctrl: codec-ctrl-pins {
		samsung,pins = "gpd3-2", "gpd3-3";
		samsung,pin-function = <EXYNOS_PIN_FUNC_OUTPUT>;
		samsung,pin-pud = <EXYNOS_PIN_PULL_NONE>;
		samsung,pin-drv = <EXYNOS5433_PIN_DRV_FAST_SR1>;
		samsung,pin-val = <1>;
	};
};

/*
 * STMicroelectronics FingerTipS touchscreen ("stm,fts_touch" in the vendor
 * kernel), with two capacitive keys and no key backlight.
 */
&i2c1 {
	#address-cells = <1>;
	#size-cells = <0>;

	/*
	 * Bus timing from the vendor kernel: with the defaults the touchscreen
	 * does not answer.
	 */
	samsung,i2c-sda-delay = <100>;
	samsung,i2c-max-bus-freq = <400000>;

	status = "okay";

	touchscreen@49 {
		compatible = "st,stmfts";
		reg = <0x49>;

		interrupt-parent = <&gpa0>;
		interrupts = <4 IRQ_TYPE_LEVEL_LOW>;

		pinctrl-names = "default";
		pinctrl-0 = <&touch_irq>;

		touchscreen-size-x = <1199>;
		touchscreen-size-y = <1919>;
		touch-key-connected;

		vdd-supply = <&tsp_dvdd>;
		avdd-supply = <&tsp_avdd>;
	};
};

/*
 * Silicon Mitus SM5703: charger, regulators and flash LED at 0x49 on i2c4, fuel
 * gauge at 0x71 on i2c0, MUIC at 0x25 on i2c2. The fuel gauge does not depend
 * on the MFD.
 *
 * Without the charger driver the chip limits the input current to 450 mA, less
 * than the system draws with the screen on.
 */
&i2c0 {
	#address-cells = <1>;
	#size-cells = <0>;

	samsung,i2c-sda-delay = <100>;
	samsung,i2c-max-bus-freq = <400000>;

	status = "okay";

	/*
	 * The tables are specific to this model's cell and come from the vendor
	 * battery DTS (battery_table0/1/2: discharge, charge, soc). The voltage
	 * unit is 1/2.048 mV: 0x2400 is 4500 mV.
	 *
	 * The interrupt fires when the charge drops below alert-soc-percent or
	 * the voltage below 3125 mV.
	 */
	fuel-gauge@71 {
		compatible = "siliconmitus,sm5703-fuelgauge";
		reg = <0x71>;

		interrupt-parent = <&gpa0>;
		interrupts = <3 IRQ_TYPE_EDGE_FALLING>;

		pinctrl-names = "default";
		pinctrl-0 = <&fuel_irq>;

		monitored-battery = <&battery>;

		siliconmitus,battery-table-discharge =
			<0x1400 0x1b88 0x1ce5 0x1d35 0x1d5a 0x1d78 0x1ddd 0x1e37
			 0x1e78 0x1ed7 0x1efb 0x1f72 0x2008 0x2133 0x220c 0x2400>;
		siliconmitus,battery-table-charge =
			<0x1400 0x1b88 0x1ce5 0x1d35 0x1d5a 0x1d78 0x1ddd 0x1e37
			 0x1e78 0x1ed7 0x1efb 0x1f72 0x2008 0x2133 0x220c 0x2400>;
		siliconmitus,battery-table-soc =
			<0x0 0x81 0x1f7 0x28c 0x36d 0x658 0xaba 0x1207
			 0x1954 0x1f2b 0x20a1 0x238d 0x2964 0x31dc 0x371e 0x3749>;

		siliconmitus,rce-values = <0x0749 0x0580 0x0371>;
		siliconmitus,dtcd-value = <0x1>;
		siliconmitus,rs-values = <0x9b 0x47a 0x3800 0x00a4>;
		siliconmitus,vit-period = <0x3506>;
		siliconmitus,mix-values = <0x0503 0x0004>;
		siliconmitus,topoff-soc = <0x0 0x5>;
		siliconmitus,volt-cal = <0x809e>;
		siliconmitus,curr-cal = <0x7a85>;
		siliconmitus,temp-std = <25>;
		siliconmitus,temp-offset = <10>;
		siliconmitus,temp-offset-cal = <0x1>;
		siliconmitus,charge-offset-cal = <(-1)>;
		siliconmitus,tem-poff = <3400 50 3350 50>;
		siliconmitus,alert-soc-percent = <2>;
	};
};

&i2c4 {
	#address-cells = <1>;
	#size-cells = <0>;

	samsung,i2c-sda-delay = <100>;
	samsung,i2c-max-bus-freq = <400000>;

	status = "okay";

	/* SM5703 charger, regulators and flash LED */
	pmic@49 {
		compatible = "siliconmitus,sm5703";
		reg = <0x49>;

		interrupt-parent = <&gpa2>;
		interrupts = <7 IRQ_TYPE_EDGE_FALLING>;

		pinctrl-names = "default";
		pinctrl-0 = <&if_pmic_irq>;

		reset-gpios = <&gpc7 4 GPIO_ACTIVE_LOW>;

		charger {
			compatible = "siliconmitus,sm5703-charger";

			monitored-battery = <&battery>;
			extcon = <&muic>;

			pinctrl-names = "default";
			pinctrl-0 = <&chg_en>;
			enable-gpios = <&gpd1 3 GPIO_ACTIVE_LOW>;

			/*
			 * A ceiling, reached only when the MUIC reports a
			 * dedicated charger; on a USB port the driver stops at
			 * 500 mA. Value from the vendor kernel.
			 */
			input-current-limit-microamp = <1650000>;
		};

		/*
		 * Rear camera flash LED, currents from the vendor kernel. The
		 * LED is controlled over I2C; the external control pins used by
		 * the vendor kernel (gpd3-5, gpd3-7) are left alone.
		 */
		flash {
			compatible = "siliconmitus,sm5703-flash";

			led {
				function = LED_FUNCTION_FLASH;
				color = <LED_COLOR_ID_WHITE>;
				led-max-microamp = <150000>;
				flash-max-microamp = <1200000>;
				flash-max-timeout-us = <1600000>;
			};
		};
	};
};

/*
 * SM5703 MUIC, handled by extcon-sm5502. Its interrupt is gpa2-6; gpa2-7 is the
 * MFD one.
 */
&i2c2 {
	#address-cells = <1>;
	#size-cells = <0>;

	samsung,i2c-sda-delay = <100>;
	samsung,i2c-max-bus-freq = <400000>;

	status = "okay";

	muic: extcon@25 {
		compatible = "siliconmitus,sm5703-muic";
		reg = <0x25>;

		interrupt-parent = <&gpa2>;
		interrupts = <6 IRQ_TYPE_EDGE_FALLING>;

		pinctrl-names = "default";
		pinctrl-0 = <&muic_irq>;
	};
};

/*
 * LIS2HH12 accelerometer ("K2HH" in the vendor kernel) and CM3323 light sensor.
 * The accelerometer interrupt (gpa0-7) is not used: polling is enough for
 * screen rotation.
 */
&i2c7 {
	#address-cells = <1>;
	#size-cells = <0>;

	samsung,i2c-sda-delay = <100>;
	samsung,i2c-max-bus-freq = <400000>;

	status = "okay";

	accelerometer@1d {
		compatible = "st,lis2hh12";
		reg = <0x1d>;

		vddio-supply = <&vdd_ldo3>;

		/*
		 * The matrix maps the axes the driver reports to the Android
		 * device frame, including the chip's sign convention, hence the
		 * negative determinant. The vendor kernel used the same map
		 * (negate_z).
		 */
		mount-matrix =  "1",  "0",  "0",
			        "0",  "1",  "0",
			        "0",  "0", "-1";
	};

	/*
	 * CM3323 colour sensor: the driver exposes red, green, blue and clear
	 * intensities, not illuminance, so lux has to be computed by the
	 * consumer.
	 */
	light-sensor@10 {
		compatible = "capella,cm3323";
		reg = <0x10>;
	};
};

/*
 * Front camera, SK hynix SR259, one MIPI lane to CSIS1. Reset and standby are
 * high while running. MCLK is the 26 MHz oscillator, as in the vendor kernel;
 * the sensor PLL gives a 351 MHz link (26 / 4 * 54), 70.2 Mpixel/s at 10 bits.
 */
&hsi2c3 {
	clock-frequency = <400000>;
	status = "okay";

	camera@30 {
		compatible = "hynix,sr259";
		reg = <0x30>;

		clocks = <&cmu_mif CLK_GOUT_MIF_CMU_ISP_SENSOR1>;
		assigned-clocks = <&cmu_mif CLK_MOUT_MIF_CMU_ISP_SENSOR1>,
				  <&cmu_mif CLK_DOUT_MIF_CMU_ISP_SENSOR1>;
		assigned-clock-parents = <&oscclk>, <0>;
		assigned-clock-rates = <0>, <26000000>;

		pinctrl-names = "default";
		pinctrl-0 = <&fimc_is_mclk1_fn>;

		vddio-supply = <&vdd_ldo34>;
		avdd-supply = <&vtcam_avdd>;
		reset-gpios = <&gpf3 1 GPIO_ACTIVE_LOW>;
		enable-gpios = <&gpa1 5 GPIO_ACTIVE_HIGH>;

		orientation = <0>;
		/*
		 * With the tablet upright in portrait, the top of the scene is
		 * on the right of the raw frame.
		 */
		rotation = <90>;

		port {
			sr259_out: endpoint {
				data-lanes = <1>;
				link-frequencies = /bits/ 64 <351000000>;
				remote-endpoint = <&csis1_in>;
			};
		};
	};
};

&csis {
	status = "okay";
};

&csis0_port {
	csis0_in: endpoint {
		data-lanes = <1 2 3 4>;
		remote-endpoint = <&s5k4h5yc_out>;
	};
};

&csis1_port {
	csis1_in: endpoint {
		data-lanes = <1>;
		remote-endpoint = <&sr259_out>;
	};
};

/*
 * Rear autofocus (DW9807) and the module calibration EEPROM (infinity and macro
 * AF positions at 0x100 and 0x108).
 */
&hsi2c2 {
	clock-frequency = <400000>;
	status = "okay";

	rear_vcm: lens@c {
		compatible = "dongwoon,dw9807-vcm";
		reg = <0x0c>;
		vdd-supply = <&vdd_ldo29>;
		/*
		 * Settings from the vendor kernel: SAC3, prescaler x1, 11.7 ms
		 * period. In direct mode the lens rings for several frames
		 * after each step.
		 */
		dongwoon,sac-mode = <3>;
		dongwoon,vcm-prescale = <1>;
		dongwoon,sac-timing = <0x36>;
	};

	/*
	 * The bus answers only with the sensor I/O rail on (the pull-ups):
	 * at24 switches it on for every read.
	 */
	eeprom@58 {
		compatible = "atmel,24c64";
		reg = <0x58>;
		pagesize = <32>;
		read-only;
		vcc-supply = <&vdd_ldo34>;
	};
};

/*
 * Rear camera, Samsung S5K4H5YC, four lanes to CSIS0, which shares its PHY with
 * the panel's DSIM0. Link: 26 / 6 * 159 = 689 Mbit/s per lane, 344.5 MHz.
 */
&hsi2c1 {
	clock-frequency = <400000>;
	status = "okay";

	camera@37 {
		compatible = "samsung,s5k4h5yc";
		reg = <0x37>;

		clocks = <&cmu_mif CLK_GOUT_MIF_CMU_ISP_SENSOR0>;
		assigned-clocks = <&cmu_mif CLK_MOUT_MIF_CMU_ISP_SENSOR0>,
				  <&cmu_mif CLK_DOUT_MIF_CMU_ISP_SENSOR0>;
		assigned-clock-parents = <&oscclk>, <0>;
		assigned-clock-rates = <0>, <26000000>;

		pinctrl-names = "default";
		pinctrl-0 = <&fimc_is_mclk0_fn>;

		avdd-supply = <&cam_avdd>;
		dvdd-supply = <&vdd_ldo30>;
		vddio-supply = <&vdd_ldo34>;
		reset-gpios = <&gpf3 3 GPIO_ACTIVE_LOW>;

		orientation = <1>;
		/*
		 * Unlike the front camera, the top of the scene is on the left
		 * of the raw frame.
		 */
		rotation = <270>;
		lens-focus = <&rear_vcm>;

		port {
			s5k4h5yc_out: endpoint {
				data-lanes = <1 2 3 4>;
				link-frequencies = /bits/ 64 <344500000>;
				remote-endpoint = <&csis0_in>;
			};
		};
	};
};
